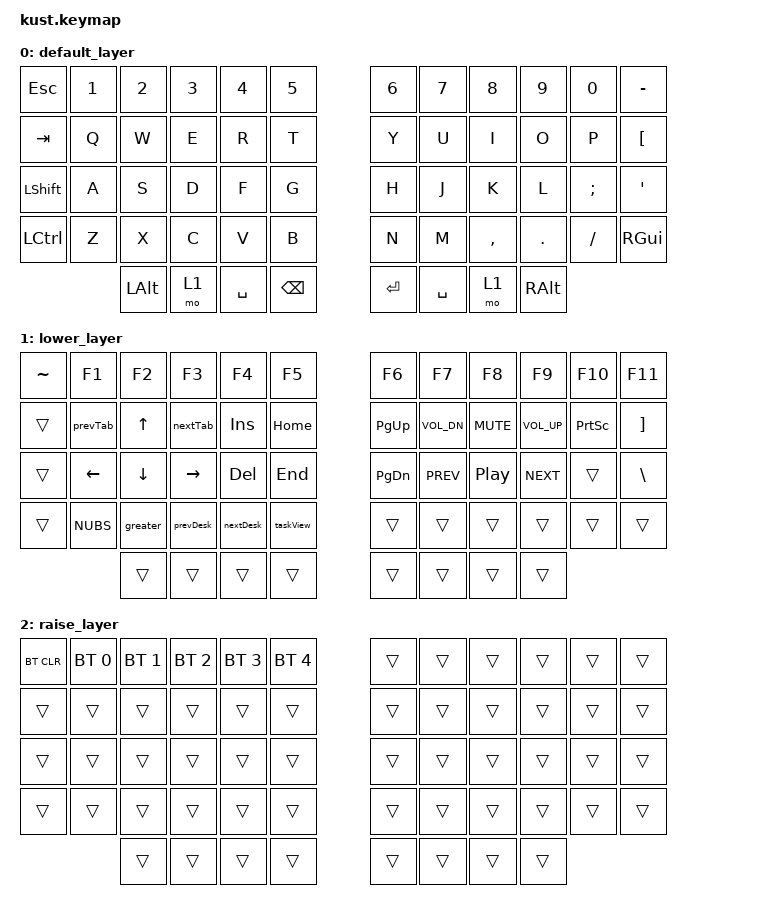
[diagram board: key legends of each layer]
/*
* Copyright (c) 2020 The ZMK Contributors
*
* SPDX-License-Identifier: MIT
*/

#include <behaviors.dtsi>
#include <dt-bindings/zmk/keys.h>
#include <dt-bindings/zmk/bt.h>


/ {
	macros {
		greater: greater {
			compatible = "zmk,behavior-macro";
			#binding-cells = <0>;
			bindings
			= <&macro_press &kp LSHFT>,
			<&macro_tap &kp NUBS>,
			<&macro_release &kp LSHFT>;
		};
		nextTab:nextTab{
			compatible = "zmk,behavior-macro";
			#binding-cells =<0>;
			bindings
			= <&macro_press &kp LCTRL>,
			<&macro_tap &kp TAB>,
			<&macro_release &kp LCTRL>;
		};
		prevTab:prevTab{
			compatible = "zmk,behavior-macro";
			#binding-cells =<0>;
			bindings
			= <&macro_press &kp LCTRL>,
			<&macro_press &kp LSHIFT>,
			<&macro_tap &kp TAB>,
			<&macro_release &kp LCTRL>,
			<&macro_release &kp LSHIFT>;
		};
		nextDesk:nextDesk{
			compatible = "zmk,behavior-macro";
			#binding-cells =<0>;
			bindings
			= <&macro_press &kp LGUI>,
			<&macro_press &kp LCTRL>,
			<&macro_tap &kp RIGHT_ARROW>,
			<&macro_release &kp LGUI>,
			<&macro_release &kp LCTRL>;
		};
		prevDesk:prevDesk{
			compatible = "zmk,behavior-macro";
			#binding-cells =<0>;
			bindings
			= <&macro_press &kp LGUI>,
			<&macro_press &kp LCTRL>,
			<&macro_tap &kp LEFT_ARROW>,
			<&macro_release &kp LGUI>,
			<&macro_release &kp LCTRL>;
		};
		taskView:taskView{
			compatible = "zmk,behavior-macro";
			#binding-cells =<0>;
			bindings
			= <&macro_press &kp LGUI>,
			<&macro_tap &kp TAB>,
			<&macro_release &kp LGUI>;
		};
	};
	
	combos{
		compatible="zmk,combos";
		combo_bt{
			timeout-ms =<50>;
			key-positions = <49 54>;
			bindings = <&mo 2>;
		};
	};
	// behaviors {
	// 	hm: homerow_mods {
	// 		compatible = "zmk,behavior-hold-tap";
	// 		#binding-cells = <2>;
	// 		tapping-term-ms = <150>;
	// 		quick-tap-ms = <0>;
	// 		flavor = "tap-preferred";
	// 		bindings = <&kp>, <&kp>;
	// 	};
	// };
	
	keymap {
		compatible = "zmk,keymap";
		
		default_layer {
			
			bindings = <
			&kp ESC   &kp N1 &kp N2 &kp N3 &kp N4  &kp N5                      	&kp N6   &kp N7 &kp N8    &kp N9  &kp N0   &kp MINUS
			&kp TAB   &kp Q  &kp W  &kp E  &kp R   &kp T                       	&kp Y    &kp U  &kp I     &kp O   &kp P    &kp LBKT
			&kp LSHFT &kp A  &kp S  &kp D  &kp F   &kp G           				&kp H    &kp J  &kp K     &kp L   &kp SEMI &kp APOS
			&kp LCTRL &kp Z  &kp X  &kp C  &kp V   &kp B   		  				&kp N    &kp M  &kp COMMA &kp DOT &kp FSLH &kp RGUI
			&kp LALT &mo 1   &kp SPACE &kp BSPC   &kp RET &kp SPACE &mo 1 &kp RALT
			>;
		};
		
		lower_layer {
			bindings = <
			&kp TILDE  &kp F1	 &kp F2	      &kp F3	 &kp F4	   &kp F5	          			&kp F6    &kp F7       &kp F8           &kp F9    	  &kp F10   		&kp F11
			&trans     &prevTab  &kp UP    	  &nextTab   &kp INS   &kp HOME           			&kp PG_UP &kp C_VOL_DN &kp C_MUTE       &kp C_VOL_UP  &kp PRINTSCREEN   &kp RBKT
			&trans     &kp LEFT  &kp DOWN     &kp RIGHT  &kp DEL   &kp END	          			&kp PG_DN &kp C_PREV   &kp C_PLAY_PAUSE &kp C_NEXT    &trans 			&kp BSLH
			&trans     &kp NUBS  &greater	  &prevDesk  &nextDesk &taskView  					&trans    &trans       &trans        	&trans  	  &trans  			&trans
			&trans     &trans    &trans    &trans   &trans    &trans    &trans       &trans
			>;
		};
		
		raise_layer {
			bindings = <
			&bt BT_CLR &bt BT_SEL 0 &bt BT_SEL 1 &bt BT_SEL 2 &bt BT_SEL 3 &bt BT_SEL 4   		  	&trans      &trans    &trans    &trans   &trans    &trans
			&trans     &trans 		&trans 		 &trans  	  &trans   	   &trans         		  	&trans      &trans    &trans    &trans   &trans    &trans
			&trans     &trans 		&trans 		 &trans  	  &trans   	   &trans         		  	&trans      &trans    &trans    &trans   &trans    &trans
			&trans     &trans 		&trans 		 &trans  	  &trans   	   &trans	&trans  &trans 	&trans      &trans    &trans    &trans   &trans    &trans
			&trans   	   &trans   &trans  &trans  &trans      &trans
			>;
		};
	};
};
